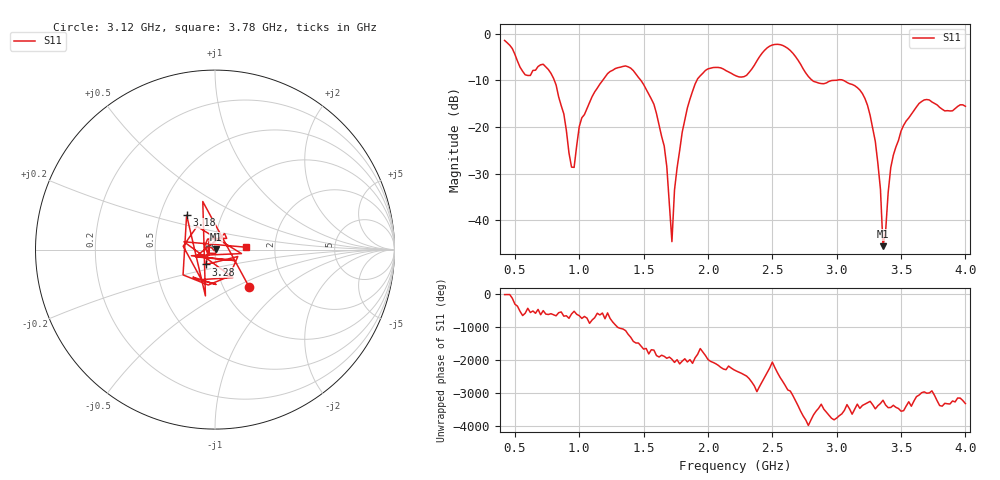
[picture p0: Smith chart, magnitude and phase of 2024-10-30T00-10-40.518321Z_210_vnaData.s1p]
!Created with skrf (http://scikit-rf.org).
# Hz S RI R 50.0
!freq ReS11 ImS11
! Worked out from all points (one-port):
!   180 points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, 420 MHz to 4 GHz, reference 50 ohm
!   lowest |S11| = -45.6 dB at 3.36 GHz (marker M1), VSWR 1.01, Z = 50.5 + j0.156 ohm
!   |S11| at or under -10 dB: 805.7 MHz to 1.183 GHz (377.3 MHz wide, 37.9 % of centre); 1.478 GHz to 1.915 GHz (437 MHz wide, 25.8 % of centre); 3.048 GHz to end of sweep (the widest 3 of 4)
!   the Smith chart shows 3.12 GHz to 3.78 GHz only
!   S11 on the Smith chart (normalised r, x): 3.12 GHz: 1.32, -0.60; 3.18 GHz: 0.68, +0.28; 3.28 GHz: 0.89, -0.15; 3.78 GHz: 1.41, +0.04
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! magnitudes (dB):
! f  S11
! 420 MHz  -1.5
! 580 MHz  -8.8
! 760 MHz  -7.7
! 880 MHz  -17.2
! 940 MHz  -28.6
! 960 MHz  -28.7
! 1.02 GHz  -18.0
! 1.32 GHz  -7.2
! 1.58 GHz  -15.2
! 1.66 GHz  -24.1
! 1.72 GHz  -44.6
! 1.74 GHz  -33.5
! 1.78 GHz  -25.1
! 1.84 GHz  -15.9
! 1.92 GHz  -9.7
! 2.22 GHz  -9.1
! 2.5 GHz  -2.5
! 2.66 GHz  -4.2
! 2.82 GHz  -10.3
! 3.12 GHz  -10.9
! 3.18 GHz  -12.1
! 3.28 GHz  -20.3
! 3.34 GHz  -33.3
! 3.36 GHz  -45.6
! 3.42 GHz  -28.7
! 3.56 GHz  -18.1
! 3.78 GHz  -15.3
! 4 GHz  -15.6
